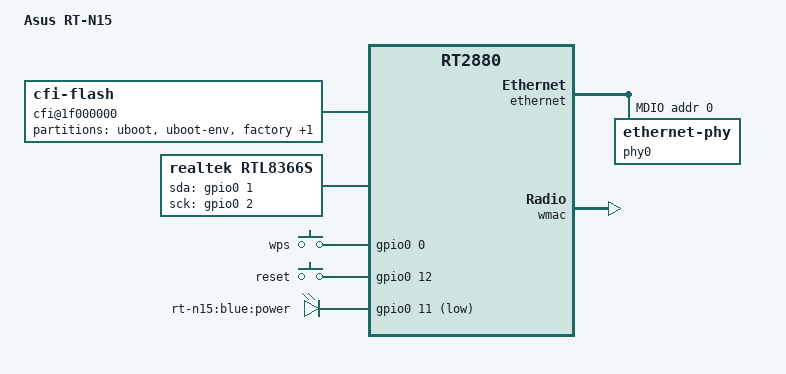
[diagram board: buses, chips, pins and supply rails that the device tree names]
/dts-v1/;

#include "rt2880.dtsi"

#include <dt-bindings/gpio/gpio.h>
#include <dt-bindings/input/input.h>

/ {
	#address-cells = <1>;
	#size-cells = <1>;
	compatible = "asus,rt-n15", "ralink,rt2880-soc";
	model = "Asus RT-N15";

	aliases {
		led-boot = &led_power;
		led-failsafe = &led_power;
		led-running = &led_power;
		led-upgrade = &led_power;
	};

	cfi@1f000000 {
		compatible = "cfi-flash";
		reg = <0x1f000000 0x800000>;
		bank-width = <2>;
		device-width = <2>;

		partitions {
			compatible = "fixed-partitions";
			#address-cells = <1>;
			#size-cells = <1>;

			partition@0 {
				label = "uboot";
				reg = <0x0 0x30000>;
				read-only;
			};

			partition@30000 {
				label = "uboot-env";
				reg = <0x30000 0x10000>;
				read-only;
			};

			factory: partition@40000 {
				label = "factory";
				reg = <0x40000 0x10000>;
				read-only;
			};

			partition@50000 {
				label = "firmware";
				reg = <0x50000 0x3b0000>;
			};
		};
	};

	rtl8366s {
		compatible = "realtek,rtl8366s";
		gpio-sda = <&gpio0 1 GPIO_ACTIVE_HIGH>;
		gpio-sck = <&gpio0 2 GPIO_ACTIVE_HIGH>;
	};

	gpio-keys-polled {
		compatible = "gpio-keys-polled";
		poll-interval = <100>;

		wps {
			label = "wps";
			gpios = <&gpio0 0 GPIO_ACTIVE_HIGH>;
			linux,code = <KEY_WPS_BUTTON>;
		};

		reset {
			label = "reset";
			gpios = <&gpio0 12 GPIO_ACTIVE_HIGH>;
			linux,code = <KEY_RESTART>;
		};
	};

	gpio-leds {
		compatible = "gpio-leds";

		led_power: power {
			label = "rt-n15:blue:power";
			gpios = <&gpio0 11 GPIO_ACTIVE_LOW>;
		};
	};
};

&gpio0 {
	status = "okay";
};

&pinctrl {
	state_default: pinctrl0 {
		gpio {
			ralink,group = "i2c", "uartlite", "mdio";
			ralink,function = "gpio";
		};
	};
};

&ethernet {
	status = "okay";
	mtd-mac-address = <&factory 0x4>;

	port@0 {
		mediatek,fixed-link = <1000 1 1 1>;
	};

	mdio-bus {
		status = "okay";

		phy0: ethernet-phy@0 {
			phy-mode = "mii";
			reg = <0>;
		};
	};
};

&wmac {
	ralink,mtd-eeprom = <&factory 0>;
};
